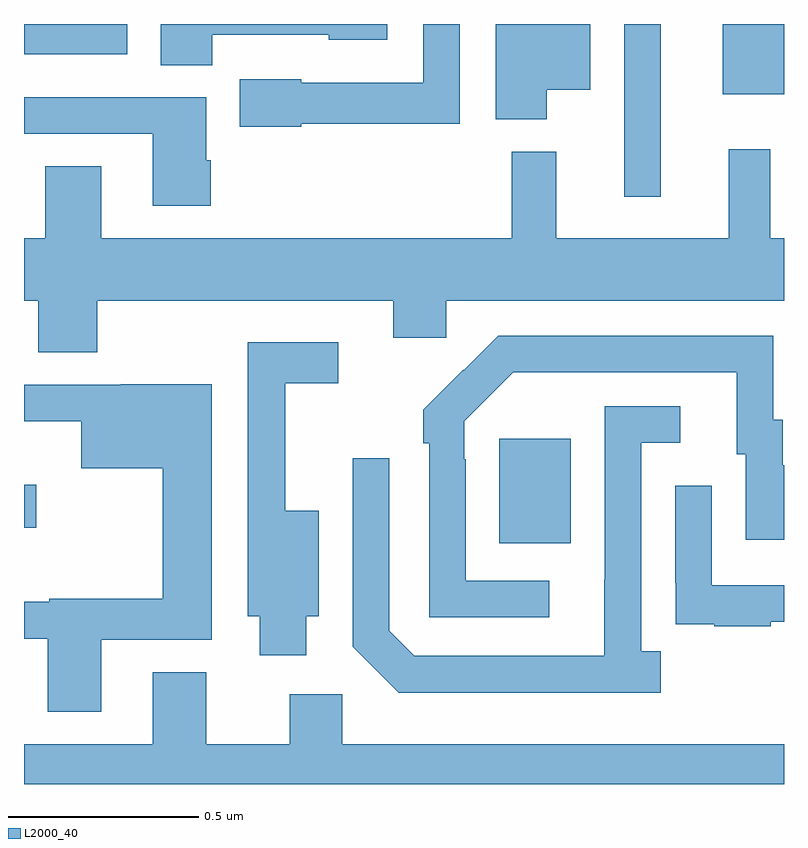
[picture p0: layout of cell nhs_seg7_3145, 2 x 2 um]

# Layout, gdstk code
import gdstk
lib = gdstk.Library(unit=1e-6, precision=1e-09)
def R(c, l, rs):  # rectangles x0, y0, x1, y1
    for r in rs: c.add(gdstk.rectangle(r[:2], r[2:], *l))
def P(c, l, *ps):  # polygons
    for p in ps: c.add(gdstk.Polygon(p, *l))
L2000_40 = (2000, 40)

nhs_seg7_3145 = lib.new_cell('nhs_seg7_3145')
R(nhs_seg7_3145, L2000_40, [(156.251,1010.633,156.439,1010.908), (155,1010.675,155.032,1010.788), (156.579,1011.546,156.676,1012), (156.839,1011.815,157,1012), (155,1011.92,155.272,1012)])
P(nhs_seg7_3145, L2000_40, [(156.376,1011.827),(156.49,1011.827),(156.49,1012),(156.242,1012),(156.242,1011.749),(156.376,1011.749)],
  [(155.73,1011.738),(156.147,1011.738),(156.147,1012),(156.051,1012),(156.051,1011.846),(155.73,1011.846),(155.73,1011.855),(155.568,1011.855),(155.568,1011.73),(155.73,1011.73)],
  [(155.496,1011.972),(155.802,1011.972),(155.802,1011.959),(155.956,1011.959),(155.956,1012),(155.36,1012),(155.36,1011.892),(155.496,1011.892)],
  [(155.492,1011.641),(155.479,1011.641),(155.479,1011.807),(155,1011.807),(155,1011.711),(155.339,1011.711),(155.339,1011.522),(155.492,1011.522)],
  [(155.193,1011.272),(155.972,1011.272),(155.972,1011.174),(156.111,1011.174),(156.111,1011.272),(157,1011.272),(157,1011.436),(156.964,1011.436),(156.964,1011.67),(156.854,1011.67),(156.854,1011.436),(156.401,1011.436),(156.401,1011.664),(156.283,1011.664),(156.283,1011.436),(155.203,1011.436),(155.203,1011.626),(155.056,1011.626),(155.056,1011.436),(155,1011.436),(155,1011.272),(155.038,1011.272),(155.038,1011.136),(155.193,1011.136)],
  [(156.382,1010.535),(156.162,1010.535),(156.162,1010.855),(156.159,1010.855),(156.159,1010.955),(156.288,1011.084),(156.875,1011.084),(156.875,1010.868),(156.899,1010.868),(156.899,1010.643),(157,1010.643),(157,1010.839),(156.997,1010.839),(156.997,1010.958),(156.972,1010.958),(156.972,1011.18),(156.248,1011.18),(156.157,1011.089),(156.156,1011.09),(156.051,1010.985),(156.051,1010.897),(156.066,1010.897),(156.066,1010.439),(156.382,1010.439)],
  [(155.743,1010.441),(155.776,1010.441),(155.776,1010.719),(155.687,1010.719),(155.687,1011.054),(155.827,1011.054),(155.827,1011.162),(155.589,1011.162),(155.589,1010.441),(155.621,1010.441),(155.621,1010.339),(155.743,1010.339)],
  [(155.203,1010.379),(155.494,1010.379),(155.494,1011.052),(155.254,1011.052),(155.254,1011.051),(155,1011.051),(155,1010.954),(155.15,1010.954),(155.15,1010.831),(155.365,1010.831),(155.365,1010.488),(155.067,1010.488),(155.067,1010.479),(155,1010.479),(155,1010.382),(155.063,1010.382),(155.063,1010.19),(155.203,1010.19)],
  [(156.676,1010.35),(156.624,1010.35),(156.624,1010.898),(156.727,1010.898),(156.727,1010.994),(156.528,1010.994),(156.528,1010.537),(156.527,1010.537),(156.527,1010.337),(156.027,1010.337),(155.961,1010.403),(155.961,1010.857),(155.865,1010.857),(155.865,1010.361),(155.986,1010.24),(156.676,1010.24)],
  [(156.965,1010.427),(157,1010.427),(157,1010.523),(156.81,1010.523),(156.81,1010.785),(156.714,1010.785),(156.714,1010.53),(156.715,1010.53),(156.715,1010.421),(156.817,1010.421),(156.817,1010.415),(156.965,1010.415)],
  [(157,1010.104),(155.838,1010.104),(155.838,1010.236),(155.699,1010.236),(155.699,1010.104),(155.479,1010.104),(155.479,1010.294),(155.339,1010.294),(155.339,1010.104),(155,1010.104),(155,1010),(157,1010)])

lib.write_gds('nhs_seg7_3145.gds')
